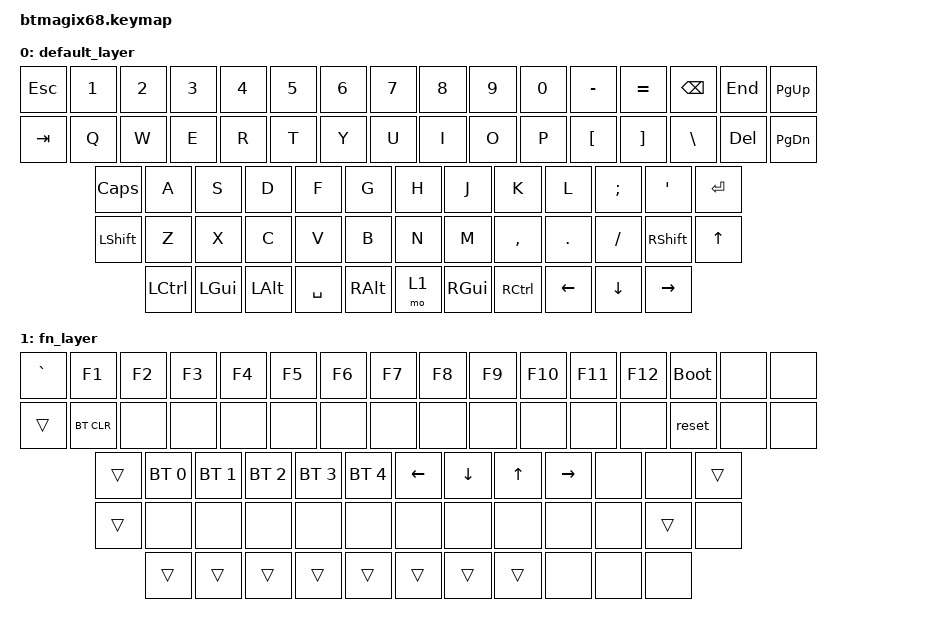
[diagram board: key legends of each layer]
#include <behaviors.dtsi>
#include <dt-bindings/zmk/keys.h>
#include <dt-bindings/zmk/bt.h>

/ {
	keymap0: keymap {
		compatible = "zmk,keymap";

		default_layer {
// ---------------------------------------------------------------------------------------------------------------
// | ESC |  1  |  2  |  3  |  4  |  5  |  6  |  7  |  8  |  9  |  0  |  -  |  =  |   BKSP |      | END  | PGUP   |
// | TAB  |  Q  |  W  |  E  |  R  |  T  |  Y  |  U  |  I  |  O  |  P  |  [  |  ]  |    \  |      | DEL  | PGDWN  |
// | CAPS  |  A  |  S  |  D  |  F  |  G  |  H  |  J  |  K  |  L  |  ;  |  '  |     ENTER  |                      |
// |  SHIFT  |  Z  |  X  |  C  |  V  |  B  |  N  |  M  |  ,  |  .  |  /  |      SHIFT     |      |  up  |        |
// |  CTL  |  WIN  |  ALT  |            SPACE               | ALT | MO(1) |  WIN  | CTRL  | left | down | right  |
// ---------------------------------------------------------------------------------------------------------------
			bindings = <
	&kp ESC &kp N1 &kp N2 &kp N3 &kp N4 &kp N5 &kp N6 &kp N7 &kp   N8  &kp  N9 &kp  N0  &kp MINUS &kp EQUAL &kp BSPC   &kp END &kp PG_UP
	&kp TAB  &kp Q  &kp W  &kp E  &kp R  &kp T  &kp Y  &kp U  &kp   I   &kp  O  &kp   P  &kp LBKT &kp RBKT  &kp BSLH   &kp DEL &kp PG_DN
	&kp CLCK  &kp A  &kp S  &kp D  &kp F  &kp G  &kp H  &kp J  &kp   K   &kp  L  &kp SEMI &kp SQT           &kp RET
	&kp LSHFT  &kp Z  &kp X  &kp C  &kp V  &kp B  &kp N  &kp M  &kp COMMA &kp DOT &kp FSLH         &kp RSHFT              &kp UP
	&kp LCTRL &kp LGUI &kp LALT               &kp SPACE                 &kp  RALT  &mo  1  &kp  RGUI  &kp  RCTRL &kp LEFT &kp DOWN &kp RIGHT
			>;
		};

		fn_layer {
			bindings = <
&kp GRAVE  &kp F1     &kp F2     &kp F3     &kp F4     &kp F5     &kp F6     &kp F7     &kp F8     &kp F9     &kp F10    &kp F11    &kp F12    &bootloader &none &none
&trans         &bt BT_CLR &none      &none      &none      &none      &none      &none      &none      &none      &none      &none      &none      &reset &none &none
&trans           &bt BT_SEL 0 &bt BT_SEL 1 &bt BT_SEL 2 &bt BT_SEL 3 &bt BT_SEL 4 &kp LEFT   &kp DOWN   &kp UP   &kp RIGHT   &none      &none      &trans
&trans                &none      &none      &none      &none      &none      &none      &none      &none      &none      &none      &trans &none
&trans       &trans       &trans       &trans                                                                     &trans     &trans     &trans     &trans &none &none &none
			>;
		};
	};
};
